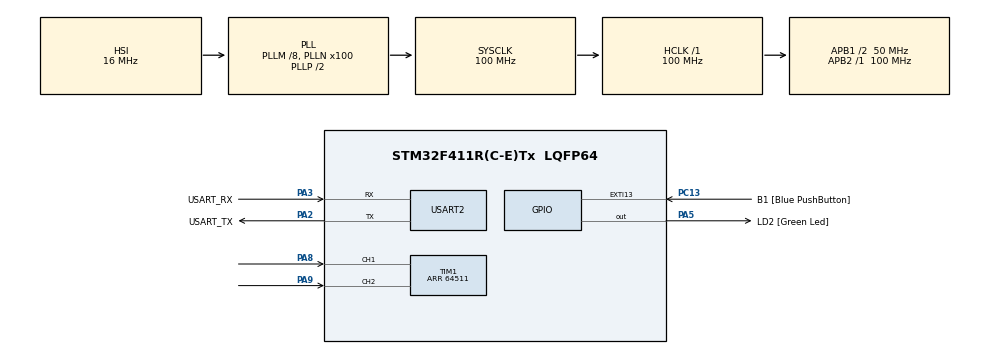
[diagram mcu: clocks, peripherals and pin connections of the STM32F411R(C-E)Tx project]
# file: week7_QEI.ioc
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Mcu.Family=STM32F4
Mcu.Name=STM32F411R(C-E)Tx
Mcu.Package=LQFP64
NVIC.PriorityGroup=NVIC_PRIORITYGROUP_0
NVIC.TIM2_IRQn=true\:0\:0\:false\:false\:true\:true\:true
PA13.GPIO_Label=TMS
PA13.Mode=Serial_Wire
PA13.Signal=SYS_JTMS-SWDIO
PA14.GPIO_Label=TCK
PA14.Mode=Serial_Wire
PA14.Signal=SYS_JTCK-SWCLK
PA2.GPIO_Label=USART_TX
PA2.Mode=Asynchronous
PA2.Signal=USART2_TX
PA3.GPIO_Label=USART_RX
PA3.Mode=Asynchronous
PA3.Signal=USART2_RX
PA5.GPIO_Label=LD2 [Green Led]
PA5.Signal=GPIO_Output
PA8.Signal=S_TIM1_CH1
PA9.Signal=S_TIM1_CH2
PB3.GPIO_Label=SWO
PB3.Signal=SYS_JTDO-SWO
PC13-ANTI_TAMP.GPIO_Label=B1 [Blue PushButton]
PC13-ANTI_TAMP.GPIO_ModeDefaultEXTI=GPIO_MODE_IT_FALLING
PC13-ANTI_TAMP.Signal=GPXTI13
PC14-OSC32_IN.Mode=LSE-External-Oscillator
PC14-OSC32_IN.Signal=RCC_OSC32_IN
PC15-OSC32_OUT.Mode=LSE-External-Oscillator
PC15-OSC32_OUT.Signal=RCC_OSC32_OUT
PH0\ -\ OSC_IN.Mode=HSE-External-Clock-Source
PH0\ -\ OSC_IN.Signal=RCC_OSC_IN
PH1\ -\ OSC_OUT.Mode=HSE-External-Clock-Source
PH1\ -\ OSC_OUT.Signal=RCC_OSC_OUT
ProjectManager.HeapSize=0x200
ProjectManager.StackSize=0x400
ProjectManager.TargetToolchain=STM32CubeIDE
RCC.48MHZClocksFreq_Value=50000000
RCC.AHBFreq_Value=100000000
RCC.APB1CLKDivider=RCC_HCLK_DIV2
RCC.APB1Freq_Value=50000000
RCC.APB1TimFreq_Value=100000000
RCC.APB2Freq_Value=100000000
RCC.APB2TimFreq_Value=100000000
RCC.CortexFreq_Value=100000000
RCC.FLatency-AdvancedSettings=FLASH_LATENCY_3
RCC.HCLKFreq_Value=100000000
RCC.HSE_VALUE=8000000
RCC.HSI_VALUE=16000000
RCC.PLLM=8
RCC.PLLN=100
RCC.SYSCLKFreq_VALUE=100000000
RCC.SYSCLKSource=RCC_SYSCLKSOURCE_PLLCLK
RCC.VCOOutputFreq_Value=200000000
SH.S_TIM1_CH1.0=TIM1_CH1,Encoder_Interface
SH.S_TIM1_CH2.0=TIM1_CH2,Encoder_Interface
TIM1.EncoderMode=TIM_ENCODERMODE_TI12
TIM1.IC1Filter=10
TIM1.IC2Filter=10
TIM1.Period=64511
TIM2.Prescaler=99
USART2.VirtualMode=VM_ASYNC
VP_TIM2_VS_ClockSourceINT.Mode=Internal
board=NUCLEO-F411RE

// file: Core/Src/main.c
/* USER CODE BEGIN Header */
/**
 ******************************************************************************
 * @file           : main.c
 * @brief          : Main program body
 ******************************************************************************
 * @attention
 *
 * <h2><center>&copy; Copyright (c) 2021 STMicroelectronics.
 * All rights reserved.</center></h2>
 *
 * This software component is licensed by ST under BSD 3-Clause license,
 * the "License"; You may not use this file except in compliance with the
 * License. You may obtain a copy of the License at:
 *                        opensource.org/licenses/BSD-3-Clause
 *
 ******************************************************************************
 */
/* USER CODE END Header */
#include "main.h"

TIM_HandleTypeDef htim1;
TIM_HandleTypeDef htim2;

UART_HandleTypeDef huart2;

/* USER CODE BEGIN PV */
uint64_t _micros = 0;
float EncoderVel = 0;
uint64_t Timestamp_Encoder = 0;
/* USER CODE END PV */

void SystemClock_Config(void);
static void MX_GPIO_Init(void);
static void MX_USART2_UART_Init(void);
static void MX_TIM1_Init(void);
static void MX_TIM2_Init(void);
/* USER CODE BEGIN PFP */
uint64_t micros();
float EncoderVelocity_Update();

/* USER CODE END PFP */

int main(void)
{

  /* MCU Configuration--------------------------------------------------------*/

  /* Reset of all peripherals, Initializes the Flash interface and the Systick. */
  HAL_Init();

  /* Configure the system clock */
  SystemClock_Config();

  /* Initialize all configured peripherals */
  MX_GPIO_Init();
  MX_USART2_UART_Init();
  MX_TIM1_Init();
  MX_TIM2_Init();
  /* USER CODE BEGIN 2 */
	HAL_TIM_Base_Start_IT(&htim2);
	HAL_TIM_Encoder_Start(&htim1, TIM_CHANNEL_ALL);
  /* USER CODE END 2 */

  /* Infinite loop */
	while (1)
	{

    /* USER CODE BEGIN 3 */

		//RAW Read 1 kHz / 1 ms
//		if (micros() - Timestamp_Encoder >= 10000)
//		{
//			Timestamp_Encoder = micros();
//			EncoderVel = EncoderVelocity_Update();
//		}

		//Add LPF?
		if (micros() - Timestamp_Encoder >= 500)
		{
			Timestamp_Encoder = micros();
			EncoderVel = (EncoderVel * 999 * 0.5 + EncoderVelocity_Update()) / 500.0;
		}

	}
  /* USER CODE END 3 */
}

void SystemClock_Config(void)
{
  RCC_OscInitTypeDef RCC_OscInitStruct = {0};
  RCC_ClkInitTypeDef RCC_ClkInitStruct = {0};

  /** Configure the main internal regulator output voltage
  */
  __HAL_RCC_PWR_CLK_ENABLE();
  __HAL_PWR_VOLTAGESCALING_CONFIG(PWR_REGULATOR_VOLTAGE_SCALE1);
  /** Initializes the RCC Oscillators according to the specified parameters
  * in the RCC_OscInitTypeDef structure.
  */
  RCC_OscInitStruct.OscillatorType = RCC_OSCILLATORTYPE_HSI;
  RCC_OscInitStruct.HSIState = RCC_HSI_ON;
  RCC_OscInitStruct.HSICalibrationValue = RCC_HSICALIBRATION_DEFAULT;
  RCC_OscInitStruct.PLL.PLLState = RCC_PLL_ON;
  RCC_OscInitStruct.PLL.PLLSource = RCC_PLLSOURCE_HSI;
  RCC_OscInitStruct.PLL.PLLM = 8;
  RCC_OscInitStruct.PLL.PLLN = 100;
  RCC_OscInitStruct.PLL.PLLP = RCC_PLLP_DIV2;
  RCC_OscInitStruct.PLL.PLLQ = 4;
  if (HAL_RCC_OscConfig(&RCC_OscInitStruct) != HAL_OK)
  {
    Error_Handler();
  }
  /** Initializes the CPU, AHB and APB buses clocks
  */
  RCC_ClkInitStruct.ClockType = RCC_CLOCKTYPE_HCLK|RCC_CLOCKTYPE_SYSCLK
                              |RCC_CLOCKTYPE_PCLK1|RCC_CLOCKTYPE_PCLK2;
  RCC_ClkInitStruct.SYSCLKSource = RCC_SYSCLKSOURCE_PLLCLK;
  RCC_ClkInitStruct.AHBCLKDivider = RCC_SYSCLK_DIV1;
  RCC_ClkInitStruct.APB1CLKDivider = RCC_HCLK_DIV2;
  RCC_ClkInitStruct.APB2CLKDivider = RCC_HCLK_DIV1;

  if (HAL_RCC_ClockConfig(&RCC_ClkInitStruct, FLASH_LATENCY_3) != HAL_OK)
  {
    Error_Handler();
  }
}

static void MX_TIM1_Init(void)
{

  TIM_Encoder_InitTypeDef sConfig = {0};
  TIM_MasterConfigTypeDef sMasterConfig = {0};

  htim1.Instance = TIM1;
  htim1.Init.Prescaler = 0;
  htim1.Init.CounterMode = TIM_COUNTERMODE_UP;
  htim1.Init.Period = 64511;
  htim1.Init.ClockDivision = TIM_CLOCKDIVISION_DIV1;
  htim1.Init.RepetitionCounter = 0;
  htim1.Init.AutoReloadPreload = TIM_AUTORELOAD_PRELOAD_DISABLE;
  sConfig.EncoderMode = TIM_ENCODERMODE_TI12;
  sConfig.IC1Polarity = TIM_ICPOLARITY_RISING;
  sConfig.IC1Selection = TIM_ICSELECTION_DIRECTTI;
  sConfig.IC1Prescaler = TIM_ICPSC_DIV1;
  sConfig.IC1Filter = 10;
  sConfig.IC2Polarity = TIM_ICPOLARITY_RISING;
  sConfig.IC2Selection = TIM_ICSELECTION_DIRECTTI;
  sConfig.IC2Prescaler = TIM_ICPSC_DIV1;
  sConfig.IC2Filter = 10;
  if (HAL_TIM_Encoder_Init(&htim1, &sConfig) != HAL_OK)
  {
    Error_Handler();
  }
  sMasterConfig.MasterOutputTrigger = TIM_TRGO_RESET;
  sMasterConfig.MasterSlaveMode = TIM_MASTERSLAVEMODE_DISABLE;
  if (HAL_TIMEx_MasterConfigSynchronization(&htim1, &sMasterConfig) != HAL_OK)
  {
    Error_Handler();
  }

}

static void MX_TIM2_Init(void)
{

  TIM_ClockConfigTypeDef sClockSourceConfig = {0};
  TIM_MasterConfigTypeDef sMasterConfig = {0};

  htim2.Instance = TIM2;
  htim2.Init.Prescaler = 99;
  htim2.Init.CounterMode = TIM_COUNTERMODE_UP;
  htim2.Init.Period = 4294967295;
  htim2.Init.ClockDivision = TIM_CLOCKDIVISION_DIV1;
  htim2.Init.AutoReloadPreload = TIM_AUTORELOAD_PRELOAD_DISABLE;
  if (HAL_TIM_Base_Init(&htim2) != HAL_OK)
  {
    Error_Handler();
  }
  sClockSourceConfig.ClockSource = TIM_CLOCKSOURCE_INTERNAL;
  if (HAL_TIM_ConfigClockSource(&htim2, &sClockSourceConfig) != HAL_OK)
  {
    Error_Handler();
  }
  sMasterConfig.MasterOutputTrigger = TIM_TRGO_RESET;
  sMasterConfig.MasterSlaveMode = TIM_MASTERSLAVEMODE_DISABLE;
  if (HAL_TIMEx_MasterConfigSynchronization(&htim2, &sMasterConfig) != HAL_OK)
  {
    Error_Handler();
  }

}

static void MX_USART2_UART_Init(void)
{

  huart2.Instance = USART2;
  huart2.Init.BaudRate = 115200;
  huart2.Init.WordLength = UART_WORDLENGTH_8B;
  huart2.Init.StopBits = UART_STOPBITS_1;
  huart2.Init.Parity = UART_PARITY_NONE;
  huart2.Init.Mode = UART_MODE_TX_RX;
  huart2.Init.HwFlowCtl = UART_HWCONTROL_NONE;
  huart2.Init.OverSampling = UART_OVERSAMPLING_16;
  if (HAL_UART_Init(&huart2) != HAL_OK)
  {
    Error_Handler();
  }

}

static void MX_GPIO_Init(void)
{
  GPIO_InitTypeDef GPIO_InitStruct = {0};

  /* GPIO Ports Clock Enable */
  __HAL_RCC_GPIOC_CLK_ENABLE();
  __HAL_RCC_GPIOH_CLK_ENABLE();
  __HAL_RCC_GPIOA_CLK_ENABLE();
  __HAL_RCC_GPIOB_CLK_ENABLE();

  /*Configure GPIO pin Output Level */
  HAL_GPIO_WritePin(LD2_GPIO_Port, LD2_Pin, GPIO_PIN_RESET);

  /*Configure GPIO pin : B1_Pin */
  GPIO_InitStruct.Pin = B1_Pin;
  GPIO_InitStruct.Mode = GPIO_MODE_IT_FALLING;
  GPIO_InitStruct.Pull = GPIO_NOPULL;
  HAL_GPIO_Init(B1_GPIO_Port, &GPIO_InitStruct);

  /*Configure GPIO pin : LD2_Pin */
  GPIO_InitStruct.Pin = LD2_Pin;
  GPIO_InitStruct.Mode = GPIO_MODE_OUTPUT_PP;
  GPIO_InitStruct.Pull = GPIO_NOPULL;
  GPIO_InitStruct.Speed = GPIO_SPEED_FREQ_LOW;
  HAL_GPIO_Init(LD2_GPIO_Port, &GPIO_InitStruct);

}

/* USER CODE BEGIN 4 */
#define  HTIM_ENCODER htim1
#define  MAX_SUBPOSITION_OVERFLOW 32256
#define  MAX_ENCODER_PERIOD 64512

float EncoderVelocity_Update() // Angular velocity
{
	//Save Last state
	static uint32_t EncoderLastPosition = 0;
	static uint64_t EncoderLastTimestamp = 0;

	//read data
	uint32_t EncoderNowPosition = HTIM_ENCODER.Instance->CNT;
	uint64_t EncoderNowTimestamp = micros();

	int32_t EncoderPositionDiff;
	uint64_t EncoderTimeDiff;

	EncoderTimeDiff = EncoderNowTimestamp - EncoderLastTimestamp;
	EncoderPositionDiff = EncoderNowPosition - EncoderLastPosition;

	//compensate overflow and underflow
	if (EncoderPositionDiff >= MAX_SUBPOSITION_OVERFLOW)
	{
		EncoderPositionDiff -= MAX_ENCODER_PERIOD;
	}
	else if (-EncoderPositionDiff >= MAX_SUBPOSITION_OVERFLOW)
	{
		EncoderPositionDiff += MAX_ENCODER_PERIOD;
	}

	//Update Position and time
	EncoderLastPosition = EncoderNowPosition;
	EncoderLastTimestamp = EncoderNowTimestamp;

	//Calculate velocity
	//EncoderTimeDiff is in uS
	return (EncoderPositionDiff * 1000000) / (float) EncoderTimeDiff;

}

void HAL_TIM_PeriodElapsedCallback(TIM_HandleTypeDef *htim)
{
	if (htim == &htim2)
	{
		_micros += 4294967295; // 2^32
	}
}
uint64_t micros()
{
	return _micros + htim2.Instance->CNT;
}
/* USER CODE END 4 */

void Error_Handler(void)
{
	__disable_irq();
	while (1)
	{
	}
}

/************************ (C) COPYRIGHT STMicroelectronics *****END OF FILE****/
